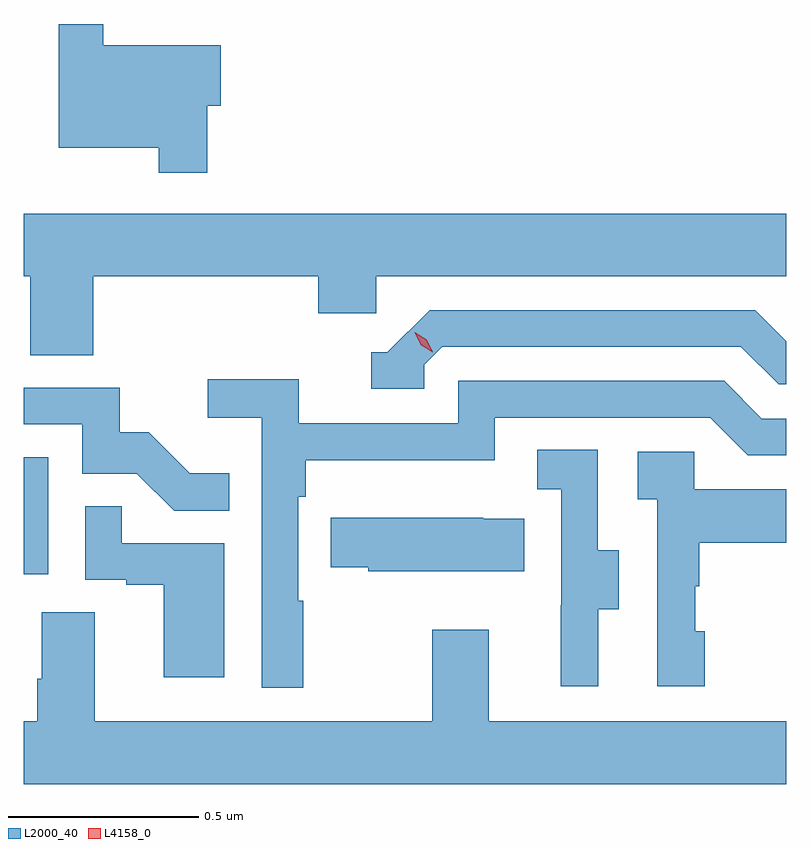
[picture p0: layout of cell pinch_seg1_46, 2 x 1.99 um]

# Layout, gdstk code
import gdstk
lib = gdstk.Library(unit=1e-6, precision=1e-09)
def R(c, l, rs):  # rectangles x0, y0, x1, y1
    for r in rs: c.add(gdstk.rectangle(r[:2], r[2:], *l))
def P(c, l, *ps):  # polygons
    for p in ps: c.add(gdstk.Polygon(p, *l))
L2000_40 = (2000, 40)
L4158_0 = (4158, 0)

pinch_seg1_46 = lib.new_cell('pinch_seg1_46')
R(pinch_seg1_46, L2000_40, [(1097.598,564.27,1097.662,564.577)])
P(pinch_seg1_46, L2000_40, [(1098.08,565.499),(1098.115,565.499),(1098.115,565.657),(1097.807,565.657),(1097.807,565.713),(1097.69,565.713),(1097.69,565.388),(1097.952,565.388),(1097.952,565.323),(1098.08,565.323)],
  [(1097.78,565.052),(1098.371,565.052),(1098.371,564.954),(1098.522,564.954),(1098.522,565.052),(1099.598,565.052),(1099.598,565.216),(1097.598,565.216),(1097.598,565.052),(1097.615,565.052),(1097.615,564.844),(1097.78,564.844)],
  [(1098.648,564.819),(1098.696,564.867),(1099.479,564.867),(1099.578,564.768),(1099.598,564.768),(1099.598,564.881),(1099.516,564.963),(1098.663,564.963),(1098.552,564.852),(1098.509,564.852),(1098.509,564.756),(1098.648,564.756)],
  [(1098.331,564.2),(1098.318,564.2),(1098.318,564.473),(1098.338,564.473),(1098.338,564.569),(1098.834,564.569),(1098.834,564.681),(1099.398,564.681),(1099.497,564.582),(1099.598,564.582),(1099.598,564.678),(1099.534,564.678),(1099.435,564.777),(1098.738,564.777),(1098.738,564.666),(1098.32,564.666),(1098.32,564.782),(1098.081,564.782),(1098.081,564.68),(1098.222,564.68),(1098.222,563.973),(1098.331,563.973)],
  [(1098.137,564.535),(1098.033,564.535),(1097.926,564.642),(1097.85,564.642),(1097.85,564.759),(1097.598,564.759),(1097.598,564.663),(1097.751,564.663),(1097.751,564.534),(1097.895,564.534),(1097.993,564.436),(1098.137,564.436)],
  [(1099.105,564.178),(1099.159,564.178),(1099.159,564.333),(1099.104,564.333),(1099.104,564.596),(1098.945,564.596),(1098.945,564.493),(1099.008,564.493),(1099.008,564.189),(1099.007,564.189),(1099.007,563.976),(1099.105,563.976)],
  [(1099.384,564.12),(1099.359,564.12),(1099.359,564.239),(1099.369,564.239),(1099.369,564.353),(1099.598,564.353),(1099.598,564.493),(1099.356,564.493),(1099.356,564.591),(1099.209,564.591),(1099.209,564.467),(1099.26,564.467),(1099.26,563.976),(1099.384,563.976)],
  [(1098.124,564.351),(1097.855,564.351),(1097.855,564.449),(1097.76,564.449),(1097.76,564.255),(1097.867,564.255),(1097.867,564.243),(1097.966,564.243),(1097.966,564),(1098.124,564)],
  [(1098.911,564.415),(1098.803,564.415),(1098.803,564.418),(1098.403,564.418),(1098.403,564.289),(1098.501,564.289),(1098.501,564.278),(1098.911,564.278)],
  [(1099.598,563.884),(1098.817,563.884),(1098.817,564.124),(1098.67,564.124),(1098.67,563.884),(1097.785,563.884),(1097.785,564.17),(1097.645,564.17),(1097.645,563.996),(1097.633,563.996),(1097.633,563.884),(1097.598,563.884),(1097.598,563.72),(1099.598,563.72)])
P(pinch_seg1_46, L4158_0, [(1098.671,564.852),(1098.64,564.871),(1098.624,564.903),(1098.624,564.904),(1098.624,564.904),(1098.655,564.885),(1098.671,564.853),(1098.671,564.852)])

lib.write_gds('pinch_seg1_46.gds')
